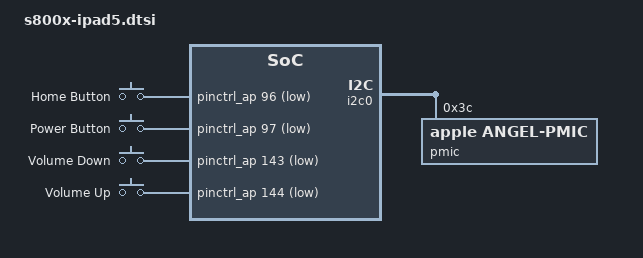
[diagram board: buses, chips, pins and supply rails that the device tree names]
// SPDX-License-Identifier: GPL-2.0+ OR MIT
/*
 * Apple iPad 5 common device tree
 *
 * Copyright (c) 2022, Konrad Dybcio <konradybcio@kernel.org>
 */

#include "s800-0-3-common.dtsi"
#include <dt-bindings/input/input.h>

/ {
	chassis-type = "tablet";

	gpio-keys {
		compatible = "gpio-keys";

		button-home {
			label = "Home Button";
			gpios = <&pinctrl_ap 96 GPIO_ACTIVE_LOW>;
			linux,code = <KEY_HOMEPAGE>;
			wakeup-source;
		};

		button-power {
			label = "Power Button";
			gpios = <&pinctrl_ap 97 GPIO_ACTIVE_LOW>;
			linux,code = <KEY_POWER>;
			wakeup-source;
		};

		button-voldown {
			label = "Volume Down";
			gpios = <&pinctrl_ap 143 GPIO_ACTIVE_LOW>;
			linux,code = <KEY_VOLUMEDOWN>;
		};

		button-volup {
			label = "Volume Up";
			gpios = <&pinctrl_ap 144 GPIO_ACTIVE_LOW>;
			linux,code = <KEY_VOLUMEUP>;
		};
	};
};

&framebuffer0 {
	power-domains = <&ps_disp0 &ps_dp>;
};

&i2c0 {
	status = "okay";

	pmic@3c {
		compatible = "apple,angel-pmic", "apple,i2c-pmic";
		reg = <0x3c>;
		#address-cells = <1>;
		#size-cells = <1>;

		rtc@500 {
			compatible = "apple,angel-pmic-rtc", "apple,antigua-pmic-rtc";
			reg = <0x500 0x10>;
			nvmem-cells = <&rtc_offset>;
			nvmem-cell-names = "rtc_offset";
		};

		nvmem@5000 {
			compatible = "apple,pmic-nvmem";
			reg = <0x5000 0x28>;

			nvmem-layout {
				compatible = "fixed-layout";
				#address-cells = <1>;
				#size-cells = <1>;

				rtc_offset: rtc-offset@4 {
					reg = <0x4 0x4>;
				};
			};
		};
	};
};
